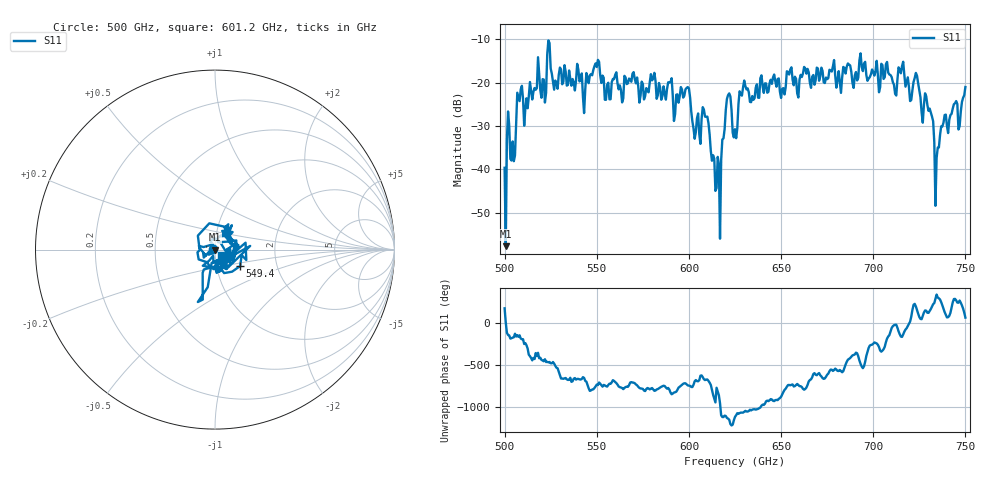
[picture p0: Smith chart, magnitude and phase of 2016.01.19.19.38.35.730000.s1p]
!Created with skrf (http://scikit-rf.org).
# GHz S RI R 50.0
!freq ReS11 ImS11
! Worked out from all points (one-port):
!   401 points, 500 GHz to 750 GHz, reference 50 ohm
!   lowest |S11| = -57.7 dB at 500.6 GHz (marker M1), VSWR 1.00, Z = 50.1 + j0.0143 ohm
!   |S11| at or under -10 dB: start of sweep to end of sweep
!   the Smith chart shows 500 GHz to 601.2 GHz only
!   S11 on the Smith chart (normalised r, x): 500 GHz: 0.98, +0.00; 549.4 GHz: 1.30, -0.25; 601.2 GHz: 1.07, -0.06
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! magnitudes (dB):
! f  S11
! 500 GHz  -39.6
! 500.6 GHz  -57.7
! 502.5 GHz  -29.9
! 504.4 GHz  -33.5
! 508.1 GHz  -24.2
! 521.2 GHz  -19.3
! 524.4 GHz  -10.9
! 527.5 GHz  -19.5
! 531.2 GHz  -20.4
! 543.8 GHz  -21.5
! 549.4 GHz  -15.5
! 562.5 GHz  -20.6
! 580.6 GHz  -19.0
! 593.8 GHz  -22.7
! 599.4 GHz  -21.0
! 601.2 GHz  -26.6
! 609.4 GHz  -27.9
! 615.6 GHz  -37.1
! 621.2 GHz  -22.8
! 625 GHz  -30.7
! 628.8 GHz  -23.0
! 656.2 GHz  -19.3
! 687.5 GHz  -16.0
! 718.8 GHz  -18.8
! 729.4 GHz  -25.1
! 734.4 GHz  -37.4
! 738.1 GHz  -29.2
! 750 GHz  -21.0
